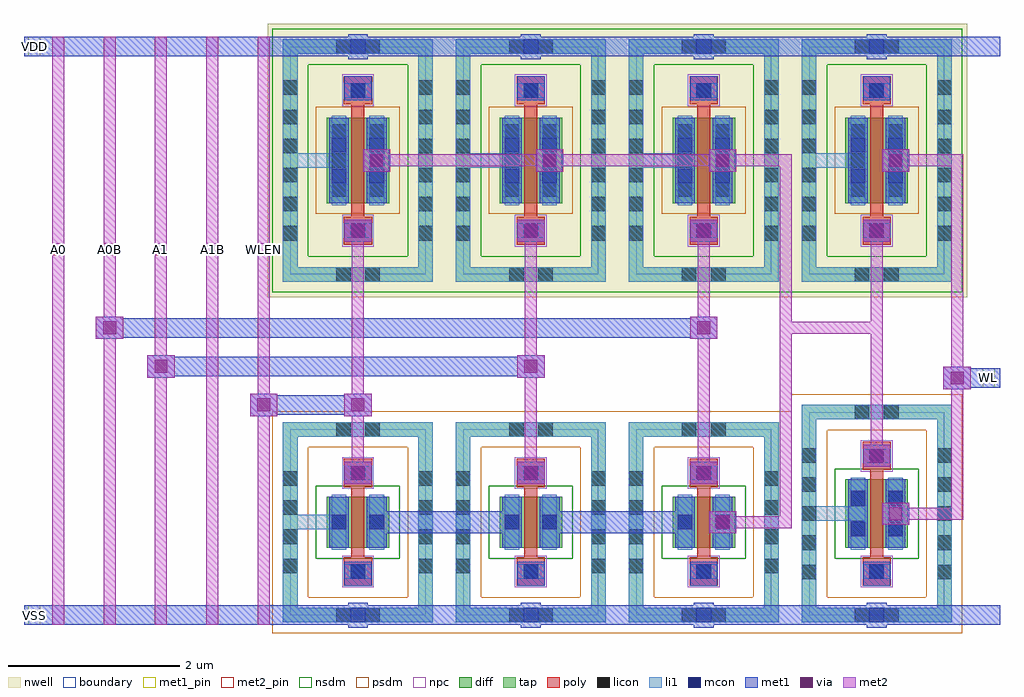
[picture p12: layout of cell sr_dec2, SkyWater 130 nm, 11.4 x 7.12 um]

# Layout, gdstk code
from math import pi, radians
import gdstk
lib = gdstk.Library(unit=1e-6, precision=1e-09)
def R(c, l, rs):  # rectangles x0, y0, x1, y1
    for r in rs: c.add(gdstk.rectangle(r[:2], r[2:], *l))
def A(c, l, x, y, w, h, nx, ny, dx, dy):  # array of equal rectangles
    R(c, l, [(x+i*dx, y+j*dy, x+i*dx+w, y+j*dy+h) for i in range(nx) for j in range(ny)])
nwell = (64, 20)
diff = (65, 20)
tap = (65, 44)
poly = (66, 20)
licon = (66, 44)
li1 = (67, 20)
mcon = (67, 44)
met1_pin = (68, 16)
met1 = (68, 20)
via = (68, 44)
met2_pin = (69, 16)
met2 = (69, 20)
nsdm = (93, 44)
psdm = (94, 20)
npc = (95, 20)
boundary = (235, 4)

sky130_fd_pr__pfet_01v8_ = lib.new_cell('sky130_fd_pr__pfet_01v8_7HN6Y2')
R(sky130_fd_pr__pfet_01v8_, nwell, [(-1.055,-1.595,1.055,1.595)])
R(sky130_fd_pr__pfet_01v8_, diff, [(-0.365,-0.5,0.365,0.5)])
R(sky130_fd_pr__pfet_01v8_, tap, [(-0.875,-1.415,0.875,-1.245), (-0.875,-1.245,-0.705,1.245), (0.705,-1.245,0.875,1.245), (-0.875,1.245,0.875,1.415)])
R(sky130_fd_pr__pfet_01v8_, poly, [(-0.165,-0.985,0.165,-0.655), (-0.075,-0.655,0.075,0.655), (-0.165,0.655,0.165,0.985)])
A(sky130_fd_pr__pfet_01v8_, licon, -0.875, -0.935, 0.17, 0.17, 1, 6, 0, 0.34)
A(sky130_fd_pr__pfet_01v8_, licon, 0.705, -0.935, 0.17, 0.17, 1, 6, 0, 0.34)
A(sky130_fd_pr__pfet_01v8_, licon, -0.305, -0.425, 0.17, 0.17, 1, 3, 0, 0.34)
A(sky130_fd_pr__pfet_01v8_, licon, 0.135, -0.425, 0.17, 0.17, 1, 3, 0, 0.34)
R(sky130_fd_pr__pfet_01v8_, licon, [(-0.255,-1.415,-0.085,-1.245), (0.085,-1.415,0.255,-1.245), (-0.085,-0.905,0.085,-0.735), (-0.085,0.735,0.085,0.905), (-0.255,1.245,-0.085,1.415), (0.085,1.245,0.255,1.415)])
R(sky130_fd_pr__pfet_01v8_, li1, [(-0.875,-1.415,0.875,-1.245), (-0.875,-1.245,-0.705,1.245), (0.705,-1.245,0.875,1.245), (-0.165,-0.905,0.165,-0.735), (-0.305,-0.52,-0.135,0.52), (0.135,-0.52,0.305,0.52), (-0.165,0.735,0.165,0.905), (-0.875,1.245,0.875,1.415)])
R(sky130_fd_pr__pfet_01v8_, mcon, [(-0.085,-0.905,0.085,-0.735), (-0.305,-0.265,-0.135,-0.095), (0.135,-0.265,0.305,-0.095), (-0.305,0.095,-0.135,0.265), (0.135,0.095,0.305,0.265), (-0.085,0.735,0.085,0.905)])
R(sky130_fd_pr__pfet_01v8_, met1, [(-0.145,-0.935,0.145,-0.705), (-0.335,-0.5,-0.105,0.5), (0.105,-0.5,0.335,0.5), (-0.145,0.705,0.145,0.935)])
R(sky130_fd_pr__pfet_01v8_, nsdm, [(-1,-1.54,1,-1.12), (-1,-1.12,-0.58,1.12), (0.58,-1.12,1,1.12), (-1,1.12,1,1.54)])
R(sky130_fd_pr__pfet_01v8_, psdm, [(-0.49,-0.625,0.49,0.625)])
R(sky130_fd_pr__pfet_01v8_, npc, [(-0.185,-1.005,0.185,-0.635), (-0.185,0.635,0.185,1.005)])
R(sky130_fd_pr__pfet_01v8_, boundary, [(-0.79,-1.33,0.79,1.33)])
sky130_fd_pr__pfet_01v8_.add(gdstk.Label('B', (0,-1.33), layer=67, texttype=5))
sky130_fd_pr__pfet_01v8_.add(gdstk.Label('D', (-0.22,0), layer=67, texttype=5))
sky130_fd_pr__pfet_01v8_.add(gdstk.Label('S', (0.22,0), layer=67, texttype=5))
sky130_fd_pr__pfet_01v8_.add(gdstk.Label('G', (0,0.82), layer=67, texttype=5))

sky130_fd_pr__nfet_01v8_ = lib.new_cell('sky130_fd_pr__nfet_01v8_LXCGVW')
R(sky130_fd_pr__nfet_01v8_, diff, [(-0.365,-0.4,0.365,0.4)])
R(sky130_fd_pr__nfet_01v8_, tap, [(-0.875,-1.27,0.875,-1.1), (-0.875,-1.1,-0.705,1.1), (0.705,-1.1,0.875,1.1), (-0.875,1.1,0.875,1.27)])
R(sky130_fd_pr__nfet_01v8_, poly, [(-0.165,-0.84,0.165,-0.51), (-0.075,-0.51,0.075,0.51), (-0.165,0.51,0.165,0.84)])
A(sky130_fd_pr__nfet_01v8_, licon, -0.875, -0.765, 0.17, 0.17, 1, 5, 0, 0.34)
A(sky130_fd_pr__nfet_01v8_, licon, 0.705, -0.765, 0.17, 0.17, 1, 5, 0, 0.34)
R(sky130_fd_pr__nfet_01v8_, licon, [(-0.255,-1.27,-0.085,-1.1), (0.085,-1.27,0.255,-1.1), (-0.085,-0.76,0.085,-0.59), (-0.305,-0.255,-0.135,-0.085), (0.135,-0.255,0.305,-0.085), (-0.305,0.085,-0.135,0.255), (0.135,0.085,0.305,0.255), (-0.085,0.59,0.085,0.76), (-0.255,1.1,-0.085,1.27), (0.085,1.1,0.255,1.27)])
R(sky130_fd_pr__nfet_01v8_, li1, [(-0.875,-1.27,0.875,-1.1), (-0.875,-1.1,-0.705,1.1), (0.705,-1.1,0.875,1.1), (-0.165,-0.76,0.165,-0.59), (-0.305,-0.42,-0.135,0.42), (0.135,-0.42,0.305,0.42), (-0.165,0.59,0.165,0.76), (-0.875,1.1,0.875,1.27)])
R(sky130_fd_pr__nfet_01v8_, mcon, [(-0.085,-0.76,0.085,-0.59), (-0.305,-0.265,-0.135,-0.095), (0.135,-0.265,0.305,-0.095), (-0.305,0.095,-0.135,0.265), (0.135,0.095,0.305,0.265), (-0.085,0.59,0.085,0.76)])
R(sky130_fd_pr__nfet_01v8_, met1, [(-0.145,-0.79,0.145,-0.56), (-0.335,-0.4,-0.105,0.4), (0.105,-0.4,0.335,0.4), (-0.145,0.56,0.145,0.79)])
R(sky130_fd_pr__nfet_01v8_, nsdm, [(-0.49,-0.525,0.49,0.525)])
R(sky130_fd_pr__nfet_01v8_, psdm, [(-1,-1.395,1,-0.975), (-1,-0.975,-0.58,0.975), (0.58,-0.975,1,0.975), (-1,0.975,1,1.395)])
R(sky130_fd_pr__nfet_01v8_, npc, [(-0.185,-0.86,0.185,-0.49), (-0.185,0.49,0.185,0.86)])
R(sky130_fd_pr__nfet_01v8_, boundary, [(-0.79,-1.185,0.79,1.185)])
sky130_fd_pr__nfet_01v8_.add(gdstk.Label('B', (0,-1.185), layer=67, texttype=5))
sky130_fd_pr__nfet_01v8_.add(gdstk.Label('D', (-0.22,0), layer=67, texttype=5))
sky130_fd_pr__nfet_01v8_.add(gdstk.Label('S', (0.22,0), layer=67, texttype=5))
sky130_fd_pr__nfet_01v8_.add(gdstk.Label('G', (0,0.675), layer=67, texttype=5))

c_sky130_fd_pr__nfet_01v8_ = lib.new_cell('sky130_fd_pr__nfet_01v8_8NZ58T')
R(c_sky130_fd_pr__nfet_01v8_, diff, [(-0.365,-0.3,0.365,0.3)])
R(c_sky130_fd_pr__nfet_01v8_, tap, [(-0.875,-1.17,0.875,-1), (-0.875,-1,-0.705,1), (0.705,-1,0.875,1), (-0.875,1,0.875,1.17)])
R(c_sky130_fd_pr__nfet_01v8_, poly, [(-0.165,-0.74,0.165,-0.41), (-0.075,-0.41,0.075,0.41), (-0.165,0.41,0.165,0.74)])
A(c_sky130_fd_pr__nfet_01v8_, licon, -0.875, -0.595, 0.17, 0.17, 1, 4, 0, 0.34)
A(c_sky130_fd_pr__nfet_01v8_, licon, 0.705, -0.595, 0.17, 0.17, 1, 4, 0, 0.34)
R(c_sky130_fd_pr__nfet_01v8_, licon, [(-0.255,-1.17,-0.085,-1), (0.085,-1.17,0.255,-1), (-0.085,-0.66,0.085,-0.49), (-0.305,-0.085,-0.135,0.085), (0.135,-0.085,0.305,0.085), (-0.085,0.49,0.085,0.66), (-0.255,1,-0.085,1.17), (0.085,1,0.255,1.17)])
R(c_sky130_fd_pr__nfet_01v8_, li1, [(-0.875,-1.17,0.875,-1), (-0.875,-1,-0.705,1), (0.705,-1,0.875,1), (-0.165,-0.66,0.165,-0.49), (-0.305,-0.32,-0.135,0.32), (0.135,-0.32,0.305,0.32), (-0.165,0.49,0.165,0.66), (-0.875,1,0.875,1.17)])
R(c_sky130_fd_pr__nfet_01v8_, mcon, [(-0.085,-0.66,0.085,-0.49), (-0.305,-0.085,-0.135,0.085), (0.135,-0.085,0.305,0.085), (-0.085,0.49,0.085,0.66)])
R(c_sky130_fd_pr__nfet_01v8_, met1, [(-0.145,-0.69,0.145,-0.46), (-0.335,-0.3,-0.105,0.3), (0.105,-0.3,0.335,0.3), (-0.145,0.46,0.145,0.69)])
R(c_sky130_fd_pr__nfet_01v8_, nsdm, [(-0.49,-0.425,0.49,0.425)])
R(c_sky130_fd_pr__nfet_01v8_, psdm, [(-1,-1.295,1,-0.875), (-1,-0.875,-0.58,0.875), (0.58,-0.875,1,0.875), (-1,0.875,1,1.295)])
R(c_sky130_fd_pr__nfet_01v8_, npc, [(-0.185,-0.76,0.185,-0.39), (-0.185,0.39,0.185,0.76)])
R(c_sky130_fd_pr__nfet_01v8_, boundary, [(-0.79,-1.085,0.79,1.085)])
c_sky130_fd_pr__nfet_01v8_.add(gdstk.Label('B', (0,-1.085), layer=67, texttype=5))
c_sky130_fd_pr__nfet_01v8_.add(gdstk.Label('D', (-0.22,0), layer=67, texttype=5))
c_sky130_fd_pr__nfet_01v8_.add(gdstk.Label('S', (0.22,0), layer=67, texttype=5))
c_sky130_fd_pr__nfet_01v8_.add(gdstk.Label('G', (0,0.575), layer=67, texttype=5))

sr_dec2 = lib.new_cell('sr_dec2')
A(sr_dec2, li1, -0.085, -1.29, 0.17, 0.17, 4, 2, 2.02, 6.64)
A(sr_dec2, li1, -0.775, 4.02, 0.555, 0.17, 4, 1, 2.02, 0)
R(sr_dec2, li1, [(-0.775,-0.205,-0.22,-0.035), (5.285,-0.105,5.84,0.065)])
A(sr_dec2, mcon, -0.085, -1.29, 0.17, 0.17, 4, 2, 2.02, 6.64)
R(sr_dec2, met1_pin, [(-3.85,-1.32,-3.71,-1.09), (7.3,1.45,7.44,1.68), (-3.85,5.32,-3.71,5.55)])
A(sr_dec2, met1, -0.115, -1.35, 0.23, 0.03, 4, 2, 2.02, 0.26)
A(sr_dec2, met1, -0.16, -0.86, 0.32, 0.28, 4, 2, 2.02, 5.67)
A(sr_dec2, met1, -0.16, 0.325, 0.32, 0.26, 3, 1, 2.02, 0)
A(sr_dec2, met1, -0.16, 3.155, 0.32, 0.26, 4, 1, 2.02, 0)
A(sr_dec2, met1, 0.06, 3.975, 0.32, 0.26, 4, 1, 2.02, 0)
A(sr_dec2, met1, -0.115, 5.29, 0.23, 0.03, 4, 2, 2.02, 0.26)
R(sr_dec2, met1, [(-3.9,-1.32,7.5,-1.09), (0.105,-0.25,1.915,0.01), (2.125,-0.25,3.935,0.01), (4.1,-0.25,4.42,0.01), (6.12,-0.15,6.44,0.11), (5.9,0.525,6.22,0.785), (-1.26,1.12,-0.94,1.135), (-0.16,1.12,0.16,1.135), (-1.26,1.135,0.16,1.365), (-1.26,1.365,-0.94,1.38), (-0.16,1.365,0.16,1.38), (6.84,1.435,7.16,1.45), (6.84,1.45,7.5,1.68), (-2.46,1.57,-2.14,1.585), (1.86,1.57,2.18,1.585), (-2.46,1.585,2.18,1.815), (6.84,1.68,7.16,1.695), (-2.46,1.815,-2.14,1.83), (1.86,1.815,2.18,1.83), (-3.06,2.02,-2.74,2.035), (3.88,2.02,4.2,2.035), (-3.06,2.035,4.2,2.265), (-3.06,2.265,-2.74,2.28), (3.88,2.265,4.2,2.28), (-3.9,5.32,7.5,5.55)])
A(sr_dec2, via, -0.075, 0.38, 0.15, 0.15, 3, 1, 2.02, 0)
A(sr_dec2, via, -0.075, 3.21, 0.15, 0.15, 4, 1, 2.02, 0)
A(sr_dec2, via, 0.145, 4.03, 0.15, 0.15, 4, 1, 2.02, 0)
R(sr_dec2, via, [(4.185,-0.195,4.335,-0.045), (6.205,-0.095,6.355,0.055), (5.985,0.58,6.135,0.73), (-1.175,1.175,-1.025,1.325), (-0.075,1.175,0.075,1.325), (6.925,1.49,7.075,1.64), (-2.375,1.625,-2.225,1.775), (1.945,1.625,2.095,1.775), (-2.975,2.075,-2.825,2.225), (3.965,2.075,4.115,2.225)])
A(sr_dec2, met2_pin, -3.57, 3, 0.14, 0.14, 5, 1, 0.6, 0)
A(sr_dec2, met2, -0.16, 0.325, 0.32, 0.26, 3, 1, 2.02, 0)
A(sr_dec2, met2, -0.16, 3.155, 0.32, 0.26, 4, 1, 2.02, 0)
A(sr_dec2, met2, 0.06, 3.975, 0.32, 0.06, 4, 2, 2.02, 0.2)
R(sr_dec2, met2, [(-3.57,-1.32,-3.43,5.55), (-2.97,-1.32,-2.83,2.02), (-2.37,-1.32,-2.23,1.57), (-1.77,-1.32,-1.63,5.55), (-1.17,-1.32,-1.03,1.12), (4.1,-0.25,4.42,-0.19), (4.1,-0.19,5.07,-0.05), (6.12,-0.15,6.44,-0.09), (6.12,-0.09,7.07,0.05), (4.1,-0.05,4.42,0.01), (4.93,-0.05,5.07,2.08), (6.12,0.05,6.44,0.11), (6.93,0.05,7.07,1.435), (5.9,0.525,6.22,0.785), (-0.07,0.585,0.07,1.12), (1.95,0.585,2.09,1.57), (3.97,0.585,4.11,2.02), (5.99,0.785,6.13,2.08), (-1.26,1.12,-0.94,1.38), (-0.16,1.12,0.16,1.38), (-1.17,1.38,-1.03,5.55), (-0.07,1.38,0.07,3.155), (6.84,1.435,7.16,1.695), (-2.46,1.57,-2.14,1.83), (1.86,1.57,2.18,1.83), (6.93,1.695,7.07,4.035), (-2.37,1.83,-2.23,5.55), (1.95,1.83,2.09,3.155), (-3.06,2.02,-2.74,2.28), (3.88,2.02,4.2,2.28), (4.93,2.08,6.13,2.22), (4.93,2.22,5.07,4.035), (5.99,2.22,6.13,3.155), (-2.97,2.28,-2.83,5.55), (3.97,2.28,4.11,3.155), (0.06,4.035,5.07,4.175), (6.12,4.035,7.07,4.175)])
A(sr_dec2, nsdm, 1, 2.565, 0.02, 3.08, 3, 1, 2.02, 0)
A(sr_dec2, psdm, 1, -1.415, 0.02, 2.59, 3, 1, 2.02, 0)
sr_dec2.add(gdstk.Reference(sky130_fd_pr__pfet_01v8_, (6.06,4.105), rotation=pi, x_reflection=True))
sr_dec2.add(gdstk.Reference(sky130_fd_pr__pfet_01v8_, (0,4.105), rotation=pi, x_reflection=True))
sr_dec2.add(gdstk.Reference(sky130_fd_pr__pfet_01v8_, (2.02,4.105), rotation=pi, x_reflection=True))
sr_dec2.add(gdstk.Reference(sky130_fd_pr__pfet_01v8_, (4.04,4.105), rotation=pi, x_reflection=True))
sr_dec2.add(gdstk.Reference(sky130_fd_pr__nfet_01v8_, (6.06,-0.02), rotation=pi, x_reflection=True))
sr_dec2.add(gdstk.Reference(c_sky130_fd_pr__nfet_01v8_, (0,-0.12), rotation=pi, x_reflection=True))
sr_dec2.add(gdstk.Reference(c_sky130_fd_pr__nfet_01v8_, (2.02,-0.12), rotation=pi, x_reflection=True))
sr_dec2.add(gdstk.Reference(c_sky130_fd_pr__nfet_01v8_, (4.04,-0.12), rotation=pi, x_reflection=True))
sr_dec2.add(gdstk.Label('A0', (-3.5,3.07), layer=69, texttype=5))
sr_dec2.add(gdstk.Label('A0B', (-2.9,3.07), layer=69, texttype=5))
sr_dec2.add(gdstk.Label('A1', (-2.3,3.07), layer=69, texttype=5))
sr_dec2.add(gdstk.Label('A1B', (-1.7,3.07), layer=69, texttype=5))
sr_dec2.add(gdstk.Label('WLEN', (-1.1,3.07), layer=69, texttype=5))
sr_dec2.add(gdstk.Label('WL', (7.37,1.565), layer=68, texttype=5))
sr_dec2.add(gdstk.Label('VDD', (-3.78,5.435), layer=68, texttype=5))
sr_dec2.add(gdstk.Label('VSS', (-3.78,-1.205), layer=68, texttype=5))

lib.write_gds('sr_dec2.gds')
